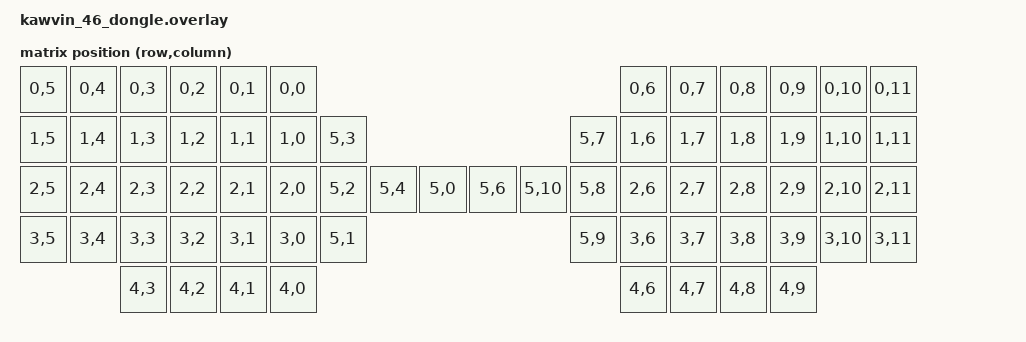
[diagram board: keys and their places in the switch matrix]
/*
 * Copyright (c) 2023 The ZMK Contributors
 *
 * SPDX-License-Identifier: MIT
 */

#include <dt-bindings/zmk/matrix_transform.h>

&pinctrl {
    // Other pinctrl definitions for other hardware
    i2c0_default: i2c0_default {
        group1 {
            psels = <NRF_PSEL(TWIM_SDA, 0, 17)>,
                    <NRF_PSEL(TWIM_SCL, 0, 20)>;
        };
    };

    i2c0_sleep: i2c0_sleep {
        group1 {
            psels = <NRF_PSEL(TWIM_SDA, 0, 17)>,
                    <NRF_PSEL(TWIM_SCL, 0, 20)>;
            low-power-enable;
        };
    };
};

&i2c0 {
	status = "okay";
	//compatible = "nordic,nrf-twi";
	pinctrl-0 = <&i2c0_default>;
	pinctrl-1 = <&i2c0_sleep>;
	pinctrl-names = "default", "sleep";
    
	oled: ssd1306@3c {
        // 分辨率修改
        width = <128>;
		height = <32>;

        // 0.91或0.96，使用以下
        compatible = "solomon,ssd1306fb";   //0.91   0.96
        segment-offset = <0>;   //0.91   0.96
        multiplex-ratio = <31>; //128*32
        com-sequential; //1.30注销本行
        label = "Dongle_DISPLAY";

        // 1.30，使用以下
        //compatible = "sinowealth,sh1106";   //1.30
        //segment-offset = <2>;   //1.30
		//multiplex-ratio = <63>; //128*64
        //label = "Dongle_DISPLAY";

		reg = <0x3c>;
		page-offset = <0>;
		display-offset = <0>;
		segment-remap;
		com-invdir;
        inversion-on;   // 翻转颜色
		prechargep = <0x22>;
	};
};

/ {

    chosen {
        zmk,kscan = &mock_kscan;
        zmk,matrix-transform = &default_transform;
        zephyr,display = &oled;
    };

    default_transform: keymap_transform_0 {
        compatible = "zmk,matrix-transform";
        columns = <12>;
        rows = <6>;

        map = <
RC(0,5) RC(0,4) RC(0,3) RC(0,2) RC(0,1) RC(0,0)                                                                 RC(0,6) RC(0,7) RC(0,8) RC(0,9) RC(0,10) RC(0,11) 
RC(1,5) RC(1,4) RC(1,3) RC(1,2) RC(1,1) RC(1,0)              RC(5,3)                       RC(5,7)              RC(1,6) RC(1,7) RC(1,8) RC(1,9) RC(1,10) RC(1,11) 
RC(2,5) RC(2,4) RC(2,3) RC(2,2) RC(2,1) RC(2,0)      RC(5,2) RC(5,4) RC(5,0)      RC(5,6) RC(5,10) RC(5,8)      RC(2,6) RC(2,7) RC(2,8) RC(2,9) RC(2,10) RC(2,11) 
RC(3,5) RC(3,4) RC(3,3) RC(3,2) RC(3,1) RC(3,0)              RC(5,1)                       RC(5,9)              RC(3,6) RC(3,7) RC(3,8) RC(3,9) RC(3,10) RC(3,11) 
                RC(4,3) RC(4,2) RC(4,1) RC(4,0)                                                                 RC(4,6) RC(4,7) RC(4,8) RC(4,9)                   
               
        >;
    };

    mock_kscan: kscan_0 {
        compatible = "zmk,kscan-mock";
        columns = <0>;
        rows = <0>;
        events = <0>;
    };

};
